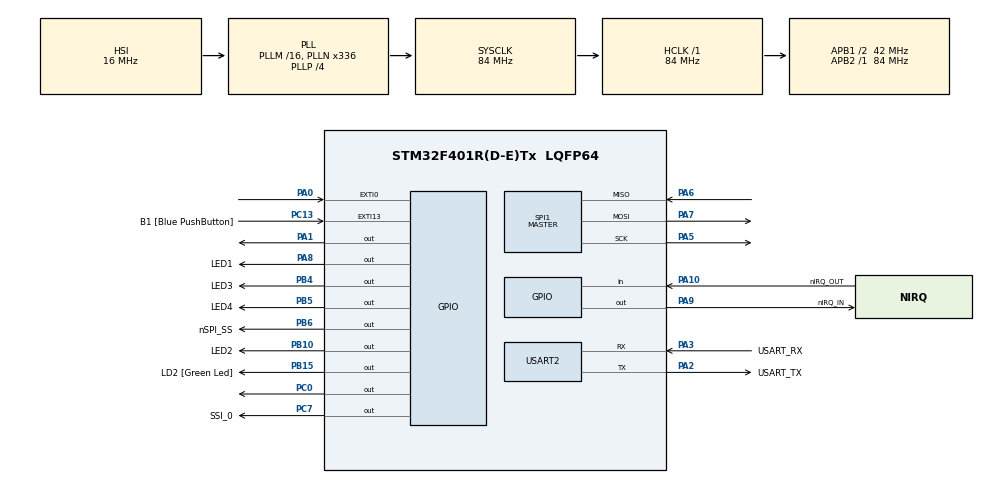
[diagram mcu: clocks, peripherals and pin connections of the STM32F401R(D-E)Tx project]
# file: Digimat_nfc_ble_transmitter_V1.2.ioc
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Mcu.Family=STM32F4
Mcu.Name=STM32F401R(D-E)Tx
Mcu.Package=LQFP64
NVIC.EXTI0_IRQn=true\:0\:0\:false\:false\:true\:true\:true\:true
NVIC.EXTI15_10_IRQn=true\:0\:0\:false\:false\:true\:true\:true\:true
NVIC.PriorityGroup=NVIC_PRIORITYGROUP_0
NVIC.TIM1_UP_TIM10_IRQn=true\:0\:0\:false\:false\:true\:true\:true\:true
PA0-WKUP.Signal=GPXTI0
PA1.Signal=GPIO_Output
PA10.GPIO_Label=nIRQ_OUT
PA10.Signal=GPIO_Input
PA13.GPIO_Label=TMS
PA13.Mode=Serial_Wire
PA13.Signal=SYS_JTMS-SWDIO
PA14.GPIO_Label=TCK
PA14.Mode=Serial_Wire
PA14.Signal=SYS_JTCK-SWCLK
PA2.GPIO_Label=USART_TX
PA2.GPIO_Mode=GPIO_MODE_AF_PP
PA2.GPIO_PuPd=GPIO_NOPULL
PA2.GPIO_Speed=GPIO_SPEED_FREQ_LOW
PA2.Mode=Asynchronous
PA2.Signal=USART2_TX
PA3.GPIO_Label=USART_RX
PA3.GPIO_Mode=GPIO_MODE_AF_PP
PA3.GPIO_PuPd=GPIO_NOPULL
PA3.GPIO_Speed=GPIO_SPEED_FREQ_LOW
PA3.Mode=Asynchronous
PA3.Signal=USART2_RX
PA5.Mode=Full_Duplex_Master
PA5.Signal=SPI1_SCK
PA6.Mode=Full_Duplex_Master
PA6.Signal=SPI1_MISO
PA7.Mode=Full_Duplex_Master
PA7.Signal=SPI1_MOSI
PA8.GPIO_Label=LED1
PA8.Signal=GPIO_Output
PA9.GPIO_Label=nIRQ_IN
PA9.Signal=GPIO_Output
PB10.GPIO_Label=LED2
PB10.Signal=GPIO_Output
PB15.GPIO_Label=LD2 [Green Led]
PB15.Signal=GPIO_Output
PB4.GPIO_Label=LED3
PB4.Signal=GPIO_Output
PB5.GPIO_Label=LED4
PB5.Signal=GPIO_Output
PB6.GPIO_Label=nSPI_SS
PB6.Signal=GPIO_Output
PC0.Signal=GPIO_Output
PC13-ANTI_TAMP.GPIO_Label=B1 [Blue PushButton]
PC13-ANTI_TAMP.GPIO_ModeDefaultEXTI=GPIO_MODE_IT_FALLING
PC13-ANTI_TAMP.GPIO_PuPd=GPIO_NOPULL
PC13-ANTI_TAMP.Signal=GPXTI13
PC14-OSC32_IN.Mode=LSE-External-Oscillator
PC14-OSC32_IN.Signal=RCC_OSC32_IN
PC15-OSC32_OUT.Mode=LSE-External-Oscillator
PC15-OSC32_OUT.Signal=RCC_OSC32_OUT
PC7.GPIO_Label=SSI_0
PC7.Signal=GPIO_Output
PH0\ -\ OSC_IN.Mode=HSE-External-Clock-Source
PH0\ -\ OSC_IN.Signal=RCC_OSC_IN
PH1\ -\ OSC_OUT.Mode=HSE-External-Clock-Source
PH1\ -\ OSC_OUT.Signal=RCC_OSC_OUT
ProjectManager.HeapSize=0x200
ProjectManager.StackSize=0x400
ProjectManager.TargetToolchain=STM32CubeIDE
RCC.48MHZClocksFreq_Value=48000000
RCC.AHBFreq_Value=84000000
RCC.APB1CLKDivider=RCC_HCLK_DIV2
RCC.APB1Freq_Value=42000000
RCC.APB1TimFreq_Value=84000000
RCC.APB2Freq_Value=84000000
RCC.APB2TimFreq_Value=84000000
RCC.CortexFreq_Value=84000000
RCC.HCLKFreq_Value=84000000
RCC.HSE_VALUE=8000000
RCC.HSI_VALUE=16000000
RCC.PLLN=336
RCC.PLLP=RCC_PLLP_DIV4
RCC.PLLQ=7
RCC.SYSCLKFreq_VALUE=84000000
RCC.SYSCLKSource=RCC_SYSCLKSOURCE_PLLCLK
RCC.VCOOutputFreq_Value=336000000
SPI1.BaudRatePrescaler=SPI_BAUDRATEPRESCALER_32
SPI1.Direction=SPI_DIRECTION_2LINES
SPI1.Mode=SPI_MODE_MASTER
SPI1.VirtualType=VM_MASTER
STMicroelectronics.X-CUBE-BLE1.6.2.4.BLE1IiApplicationsCcDeviceJjApplication=SampleApp
STMicroelectronics.X-CUBE-BLE1.6.2.4.BSP.number=7
STMicroelectronics.X-CUBE-BLE1.6.2.4.BlueNRGAaMSCcWirelessJjBlueNRGAaMSJjController=true
STMicroelectronics.X-CUBE-BLE1.6.2.4.BlueNRGAaMSCcWirelessJjBlueNRGAaMSJjHCIIiTL=Basic
STMicroelectronics.X-CUBE-BLE1.6.2.4.BlueNRGAaMSCcWirelessJjBlueNRGAaMSJjHCIIiTLIiINTERFACE=UserBoard
STMicroelectronics.X-CUBE-BLE1.6.2.4.BlueNRGAaMSCcWirelessJjBlueNRGAaMSJjUtils=true
STMicroelectronics.X-CUBE-BLE1.6.2.40.BSP.STBoard=false
STMicroelectronics.X-CUBE-BLE1.6.2.40.BSP.api=HAL_EXTI_DRIVER
STMicroelectronics.X-CUBE-BLE1.6.2.40.BSP.condition=SEMBlueNRGAaMSCcWirelessJjBlueNRGAaMSJjHCIIiTLIiINTERFACEJjUserBoard
STMicroelectronics.X-CUBE-BLE1.6.2.40.BSP.instance=PA0-WKUP
STMicroelectronics.X-CUBE-BLE1.6.2.40.BSP.ip=GPIO
STMicroelectronics.X-CUBE-BLE1.6.2.40.BSP.mode=EXTI
STMicroelectronics.X-CUBE-BLE1.6.2.40.BSP.name=Exti Line
STMicroelectronics.X-CUBE-BLE1.6.2.40.BSP.solution=PA0-WKUP
STMicroelectronics.X-CUBE-BLE1.6.2.41.BSP.STBoard=false
STMicroelectronics.X-CUBE-BLE1.6.2.41.BSP.api=BSP_COMMON_DRIVER
STMicroelectronics.X-CUBE-BLE1.6.2.41.BSP.condition=SEMBLE1IiApplicationsCcDeviceJjApplicationJjSensorDemoBLESensor | SEMBLE1IiApplicationsCcDeviceJjApplicationJjSampleApp
STMicroelectronics.X-CUBE-BLE1.6.2.41.BSP.instance=PC13-ANTI_TAMP
STMicroelectronics.X-CUBE-BLE1.6.2.41.BSP.ip=GPIO
STMicroelectronics.X-CUBE-BLE1.6.2.41.BSP.mode=EXTI
STMicroelectronics.X-CUBE-BLE1.6.2.41.BSP.name=BSP BUTTON
STMicroelectronics.X-CUBE-BLE1.6.2.41.BSP.solution=PC13-ANTI_TAMP
STMicroelectronics.X-CUBE-BLE1.6.2.42.BSP.STBoard=false
STMicroelectronics.X-CUBE-BLE1.6.2.42.BSP.api=BSP_COMMON_DRIVER
STMicroelectronics.X-CUBE-BLE1.6.2.42.BSP.condition=SEMBLE1IiApplicationsCcDeviceJjApplicationJjSensorDemoBLESensor | SEMBLE1IiApplicationsCcDeviceJjApplicationJjSampleApp | SEMBLE1IiApplicationsCcDeviceJjApplicationJjBeacon | SEMBLE1IiApplicationsCcDeviceJjApplicationJjVirtualCOMPort
STMicroelectronics.X-CUBE-BLE1.6.2.42.BSP.instance=USART2
STMicroelectronics.X-CUBE-BLE1.6.2.42.BSP.ip=(LPU|US)ART
STMicroelectronics.X-CUBE-BLE1.6.2.42.BSP.mode=Asynchronous
STMicroelectronics.X-CUBE-BLE1.6.2.42.BSP.name=BSP USART
STMicroelectronics.X-CUBE-BLE1.6.2.42.BSP.solution=USART2
STMicroelectronics.X-CUBE-BLE1.6.2.43.BSP.STBoard=false
STMicroelectronics.X-CUBE-BLE1.6.2.43.BSP.api=BSP_BUS_DRIVER
STMicroelectronics.X-CUBE-BLE1.6.2.43.BSP.condition=SEMBlueNRGAaMSCcWirelessJjBlueNRGAaMSJjHCIIiTLIiINTERFACEJjUserBoard
STMicroelectronics.X-CUBE-BLE1.6.2.43.BSP.instance=SPI1
STMicroelectronics.X-CUBE-BLE1.6.2.43.BSP.ip=SPI
STMicroelectronics.X-CUBE-BLE1.6.2.43.BSP.mode=Full-Duplex Master
STMicroelectronics.X-CUBE-BLE1.6.2.43.BSP.name=BUS IO driver
STMicroelectronics.X-CUBE-BLE1.6.2.43.BSP.solution=SPI1
STMicroelectronics.X-CUBE-BLE1.6.2.44.BSP.STBoard=false
STMicroelectronics.X-CUBE-BLE1.6.2.44.BSP.api=Unknown
STMicroelectronics.X-CUBE-BLE1.6.2.44.BSP.condition=SEMBlueNRGAaMSCcWirelessJjBlueNRGAaMSJjHCIIiTLIiINTERFACEJjUserBoard
STMicroelectronics.X-CUBE-BLE1.6.2.44.BSP.instance=PA1
STMicroelectronics.X-CUBE-BLE1.6.2.44.BSP.ip=GPIO
STMicroelectronics.X-CUBE-BLE1.6.2.44.BSP.mode=Output
STMicroelectronics.X-CUBE-BLE1.6.2.44.BSP.name=CS Line
STMicroelectronics.X-CUBE-BLE1.6.2.44.BSP.solution=PA1
STMicroelectronics.X-CUBE-BLE1.6.2.45.BSP.STBoard=false
STMicroelectronics.X-CUBE-BLE1.6.2.45.BSP.api=BSP_COMMON_DRIVER
STMicroelectronics.X-CUBE-BLE1.6.2.45.BSP.condition=SEMBLE1IiApplicationsCcDeviceJjApplicationJjSensorDemoBLESensor | SEMBLE1IiApplicationsCcDeviceJjApplicationJjSampleApp
STMicroelectronics.X-CUBE-BLE1.6.2.45.BSP.instance=PB15
STMicroelectronics.X-CUBE-BLE1.6.2.45.BSP.ip=GPIO
STMicroelectronics.X-CUBE-BLE1.6.2.45.BSP.mode=Output
STMicroelectronics.X-CUBE-BLE1.6.2.45.BSP.name=BSP LED
STMicroelectronics.X-CUBE-BLE1.6.2.45.BSP.solution=PB15
STMicroelectronics.X-CUBE-BLE1.6.2.46.BSP.STBoard=false
STMicroelectronics.X-CUBE-BLE1.6.2.46.BSP.api=Unknown
STMicroelectronics.X-CUBE-BLE1.6.2.46.BSP.condition=SEMBlueNRGAaMSCcWirelessJjBlueNRGAaMSJjHCIIiTLIiINTERFACEJjUserBoard
STMicroelectronics.X-CUBE-BLE1.6.2.46.BSP.instance=PC0
STMicroelectronics.X-CUBE-BLE1.6.2.46.BSP.ip=GPIO
STMicroelectronics.X-CUBE-BLE1.6.2.46.BSP.mode=Output
STMicroelectronics.X-CUBE-BLE1.6.2.46.BSP.name=Reset Line
STMicroelectronics.X-CUBE-BLE1.6.2.46.BSP.solution=PC0
TIM10.Period=10000-1
TIM10.Prescaler=8400-1
USART2.VirtualMode=VM_ASYNC
VP_STMicroelectronics.X-CUBE-BLE1_VS_DeviceJjBLE1IiApplications_6.2.4.Mode=DeviceJjBLE1IiApplications
VP_STMicroelectronics.X-CUBE-BLE1_VS_WirelessJjBlueNRGAaMS_6.2.4.Mode=WirelessJjBlueNRGAaMS
VP_TIM10_VS_ClockSourceINT.Mode=Enable_Timer
board=NUCLEO-F401RE

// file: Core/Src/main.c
/* USER CODE BEGIN Header */
/**
  ******************************************************************************
  * @file           : main.c
  * @brief          : Main program body
  ******************************************************************************
  * @attention
  *
  * Copyright (c) 2023 STMicroelectronics.
  * All rights reserved.
  *
  * This software is licensed under terms that can be found in the LICENSE file
  * in the root directory of this software component.
  * If no LICENSE file comes with this software, it is provided AS-IS.
  *
  ******************************************************************************
  */
/* USER CODE END Header */
#include "main.h"
#include "app_bluenrg_ms.h"

/* USER CODE BEGIN Includes */
#include "demo.h"
#include "platform.h"
/* USER CODE END Includes */

TIM_HandleTypeDef htim10;

/* USER CODE BEGIN PV */
SPI_HandleTypeDef hspi1;

UART_HandleTypeDef huart2;

volatile char UID_global[20];

/* USER CODE END PV */

void SystemClock_Config(void);
static void MX_GPIO_Init(void);
static void MX_TIM10_Init(void);
/* USER CODE BEGIN PFP */
static void MX_USART2_UART_Init(void);
static void MX_SPI1_Init(void);
/* USER CODE END PFP */

int main(void)
{

  /* MCU Configuration--------------------------------------------------------*/

  /* Reset of all peripherals, Initializes the Flash interface and the Systick. */
  HAL_Init();

  /* Configure the system clock */
  SystemClock_Config();

  /* Initialize all configured peripherals */
  MX_GPIO_Init();
  MX_TIM10_Init();
  MX_BlueNRG_MS_Init();
  /* USER CODE BEGIN 2 */
  MX_USART2_UART_Init();
  MX_SPI1_Init();
  logUsartInit(&huart2);

//    platformLog("\r\nWelcome to X-NUCLEO-NFC03A1 (SPI Interface)\r\n");

    if( !demoIni() )
      {
        /*
        * in case the rfal initalization failed signal it by flashing all LED
        * and stoping all operations
        */
        platformLog("Initialization failed..\r\n");
        platformLog("Poteva andare meglio..\r\n");
        while(1)
        {
          platformLedToogle(PLATFORM_LED_A_PORT, PLATFORM_LED_A_PIN);
          platformLedToogle(PLATFORM_LED_B_PORT, PLATFORM_LED_B_PIN);
          platformLedToogle(PLATFORM_LED_F_PORT, PLATFORM_LED_F_PIN);
          platformLedToogle(PLATFORM_LED_V_PORT, PLATFORM_LED_V_PIN);
          platformDelay(100);
        }
      }
      else
      {
        platformLog("Initialization succeeded..\r\n");
        platformLog("Progetto Caputo Gargiulo\r\n");
        for (int i = 0; i < 6; i++)
        {
          platformLedToogle(PLATFORM_LED_A_PORT, PLATFORM_LED_A_PIN);
          platformLedToogle(PLATFORM_LED_B_PORT, PLATFORM_LED_B_PIN);
          platformLedToogle(PLATFORM_LED_F_PORT, PLATFORM_LED_F_PIN);
          platformLedToogle(PLATFORM_LED_V_PORT, PLATFORM_LED_V_PIN);
          platformDelay(200);
        }

        platformLedOff(PLATFORM_LED_A_PORT, PLATFORM_LED_A_PIN);
        platformLedOff(PLATFORM_LED_B_PORT, PLATFORM_LED_B_PIN);
        platformLedOff(PLATFORM_LED_F_PORT, PLATFORM_LED_F_PIN);
        platformLedOff(PLATFORM_LED_V_PORT, PLATFORM_LED_V_PIN);
      }

    HAL_TIM_Base_Start_IT(&htim10);
  /* USER CODE END 2 */

  /* Infinite loop */
  while (1)
  {

  MX_BlueNRG_MS_Process();
    /* USER CODE BEGIN 3 */
  demoCycle();
   HAL_Delay(1);
  }
  /* USER CODE END 3 */
}

void SystemClock_Config(void)
{
  RCC_OscInitTypeDef RCC_OscInitStruct = {0};
  RCC_ClkInitTypeDef RCC_ClkInitStruct = {0};

  /** Configure the main internal regulator output voltage
  */
  __HAL_RCC_PWR_CLK_ENABLE();
  __HAL_PWR_VOLTAGESCALING_CONFIG(PWR_REGULATOR_VOLTAGE_SCALE2);

  /** Initializes the RCC Oscillators according to the specified parameters
  * in the RCC_OscInitTypeDef structure.
  */
  RCC_OscInitStruct.OscillatorType = RCC_OSCILLATORTYPE_HSI;
  RCC_OscInitStruct.HSIState = RCC_HSI_ON;
  RCC_OscInitStruct.HSICalibrationValue = RCC_HSICALIBRATION_DEFAULT;
  RCC_OscInitStruct.PLL.PLLState = RCC_PLL_ON;
  RCC_OscInitStruct.PLL.PLLSource = RCC_PLLSOURCE_HSI;
  RCC_OscInitStruct.PLL.PLLM = 16;
  RCC_OscInitStruct.PLL.PLLN = 336;
  RCC_OscInitStruct.PLL.PLLP = RCC_PLLP_DIV4;
  RCC_OscInitStruct.PLL.PLLQ = 7;
  if (HAL_RCC_OscConfig(&RCC_OscInitStruct) != HAL_OK)
  {
    Error_Handler();
  }

  /** Initializes the CPU, AHB and APB buses clocks
  */
  RCC_ClkInitStruct.ClockType = RCC_CLOCKTYPE_HCLK|RCC_CLOCKTYPE_SYSCLK
                              |RCC_CLOCKTYPE_PCLK1|RCC_CLOCKTYPE_PCLK2;
  RCC_ClkInitStruct.SYSCLKSource = RCC_SYSCLKSOURCE_PLLCLK;
  RCC_ClkInitStruct.AHBCLKDivider = RCC_SYSCLK_DIV1;
  RCC_ClkInitStruct.APB1CLKDivider = RCC_HCLK_DIV2;
  RCC_ClkInitStruct.APB2CLKDivider = RCC_HCLK_DIV1;

  if (HAL_RCC_ClockConfig(&RCC_ClkInitStruct, FLASH_LATENCY_2) != HAL_OK)
  {
    Error_Handler();
  }
}

static void MX_TIM10_Init(void)
{

  htim10.Instance = TIM10;
  htim10.Init.Prescaler = 8400-1;
  htim10.Init.CounterMode = TIM_COUNTERMODE_UP;
  htim10.Init.Period = 10000-1;
  htim10.Init.ClockDivision = TIM_CLOCKDIVISION_DIV1;
  htim10.Init.AutoReloadPreload = TIM_AUTORELOAD_PRELOAD_DISABLE;
  if (HAL_TIM_Base_Init(&htim10) != HAL_OK)
  {
    Error_Handler();
  }

}

static void MX_GPIO_Init(void)
{
  GPIO_InitTypeDef GPIO_InitStruct = {0};

  /* GPIO Ports Clock Enable */
  __HAL_RCC_GPIOC_CLK_ENABLE();
  __HAL_RCC_GPIOH_CLK_ENABLE();
  __HAL_RCC_GPIOA_CLK_ENABLE();
  __HAL_RCC_GPIOB_CLK_ENABLE();

  /*Configure GPIO pin Output Level */
  HAL_GPIO_WritePin(GPIOC, GPIO_PIN_0, GPIO_PIN_RESET);
  HAL_GPIO_WritePin(SSI_0_GPIO_Port, SSI_0_Pin, GPIO_PIN_SET);

  /*Configure GPIO pin Output Level */
  HAL_GPIO_WritePin(GPIOA, GPIO_PIN_1|LED1_Pin|nIRQ_IN_Pin, GPIO_PIN_RESET);

  /*Configure GPIO pin Output Level */
  HAL_GPIO_WritePin(GPIOB, LED2_Pin|LED3_Pin|LED4_Pin, GPIO_PIN_RESET);
  HAL_GPIO_WritePin(GPIOB, nSPI_SS_Pin, GPIO_PIN_SET);

  /*Configure GPIO pins : PC0 SSI_0_Pin */
  GPIO_InitStruct.Pin = GPIO_PIN_0|SSI_0_Pin;
  GPIO_InitStruct.Mode = GPIO_MODE_OUTPUT_PP;
  GPIO_InitStruct.Pull = GPIO_NOPULL;
  GPIO_InitStruct.Speed = GPIO_SPEED_FREQ_LOW;
  HAL_GPIO_Init(GPIOC, &GPIO_InitStruct);

  /*Configure GPIO pin : PA0 */
  GPIO_InitStruct.Pin = GPIO_PIN_0;
  GPIO_InitStruct.Mode = GPIO_MODE_IT_RISING;
  GPIO_InitStruct.Pull = GPIO_NOPULL;
  HAL_GPIO_Init(GPIOA, &GPIO_InitStruct);

  /*Configure GPIO pins : PA1 LED1_Pin nIRQ_IN_Pin */
  GPIO_InitStruct.Pin = GPIO_PIN_1|LED1_Pin|nIRQ_IN_Pin;
  GPIO_InitStruct.Mode = GPIO_MODE_OUTPUT_PP;
  GPIO_InitStruct.Pull = GPIO_NOPULL;
  GPIO_InitStruct.Speed = GPIO_SPEED_FREQ_LOW;
  HAL_GPIO_Init(GPIOA, &GPIO_InitStruct);

  /*Configure GPIO pins : LED2_Pin LED3_Pin LED4_Pin nSPI_SS_Pin */
  GPIO_InitStruct.Pin = LED2_Pin|LED3_Pin|LED4_Pin|nSPI_SS_Pin;
  GPIO_InitStruct.Mode = GPIO_MODE_OUTPUT_PP;
  GPIO_InitStruct.Pull = GPIO_NOPULL;
  GPIO_InitStruct.Speed = GPIO_SPEED_FREQ_LOW;
  HAL_GPIO_Init(GPIOB, &GPIO_InitStruct);

  /*Configure GPIO pin : nIRQ_OUT_Pin */
  GPIO_InitStruct.Pin = nIRQ_OUT_Pin;
  GPIO_InitStruct.Mode = GPIO_MODE_INPUT;
  GPIO_InitStruct.Pull = GPIO_NOPULL;
  HAL_GPIO_Init(nIRQ_OUT_GPIO_Port, &GPIO_InitStruct);

//  /* EXTI interrupt init*/
//  HAL_NVIC_SetPriority(EXTI0_IRQn, 0, 0);
//  HAL_NVIC_EnableIRQ(EXTI0_IRQn);
//
//  HAL_NVIC_SetPriority(EXTI15_10_IRQn, 0, 0);
//  HAL_NVIC_EnableIRQ(EXTI15_10_IRQn);

}

void Error_Handler(void)
{
  __disable_irq();
  while (1)
  {
  }
}

static void MX_USART2_UART_Init(void)
{

  huart2.Instance = USART2;
  huart2.Init.BaudRate = 115200;
  huart2.Init.WordLength   = UART_WORDLENGTH_8B;
  huart2.Init.StopBits = UART_STOPBITS_1;
  huart2.Init.Parity = UART_PARITY_NONE;
  huart2.Init.Mode = UART_MODE_TX_RX;
  huart2.Init.HwFlowCtl = UART_HWCONTROL_NONE;
  huart2.Init.OverSampling = UART_OVERSAMPLING_16;
  if (HAL_UART_Init(&huart2) != HAL_OK)
  {
    Error_Handler();
  }

}

static void MX_SPI1_Init(void)
{

  /* SPI1 parameter configuration*/
  hspi1.Instance = SPI1;
  hspi1.Init.Mode = SPI_MODE_MASTER;
  hspi1.Init.Direction = SPI_DIRECTION_2LINES;
  hspi1.Init.DataSize = SPI_DATASIZE_8BIT;
  hspi1.Init.CLKPolarity = SPI_POLARITY_LOW;
  hspi1.Init.CLKPhase = SPI_PHASE_1EDGE;
  hspi1.Init.NSS = SPI_NSS_SOFT;
  hspi1.Init.BaudRatePrescaler = SPI_BAUDRATEPRESCALER_32;
  hspi1.Init.FirstBit = SPI_FIRSTBIT_MSB;
  hspi1.Init.TIMode = SPI_TIMODE_DISABLE;
  hspi1.Init.CRCCalculation = SPI_CRCCALCULATION_DISABLE;
  hspi1.Init.CRCPolynomial = 7;
  if (HAL_SPI_Init(&hspi1) != HAL_OK)
  {
    Error_Handler();
  }

}
